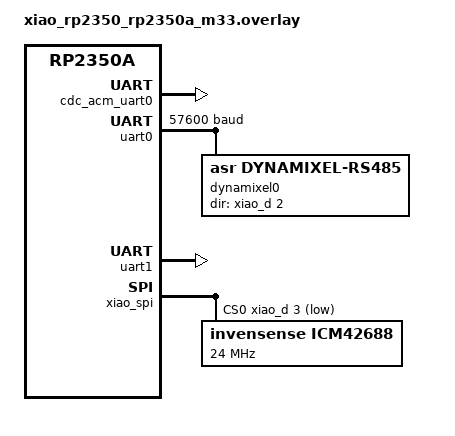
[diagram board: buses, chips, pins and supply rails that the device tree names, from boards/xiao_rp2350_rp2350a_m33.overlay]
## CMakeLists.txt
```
# SPDX-License-Identifier: Apache-2.0
cmake_minimum_required(VERSION 3.20.0)

list(APPEND ZEPHYR_EXTRA_MODULES
	${CMAKE_CURRENT_SOURCE_DIR}/../../modules/common
	${CMAKE_CURRENT_SOURCE_DIR}/../../modules/led
	${CMAKE_CURRENT_SOURCE_DIR}/../../modules/imu
	${CMAKE_CURRENT_SOURCE_DIR}/../../modules/ahrs
	${CMAKE_CURRENT_SOURCE_DIR}/../../modules/comm
	${CMAKE_CURRENT_SOURCE_DIR}/../../modules/interface
	${CMAKE_CURRENT_SOURCE_DIR}/../../modules/monitor
)

find_package(Zephyr REQUIRED HINTS $ENV{ZEPHYR_BASE})
project(unit_system)

target_sources(app PRIVATE src/main.c)
```

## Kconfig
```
mainmenu "unit system application"

source "Kconfig.zephyr"
```

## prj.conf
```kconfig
# SPDX-License-Identifier: Apache-2.0

# Main must not outrank the USB device stack: blocking console TX on CDC ACM
# waits for USB to run; default prio 0 can deadlock poll_out vs. USB worker.
CONFIG_MAIN_THREAD_PRIORITY=0

CONFIG_GPIO=y

# Common shared types and utilities
CONFIG_ASR_COMMON=y

# User LED (PWM brightness on pwm_led0 / GP25)
CONFIG_LED=y
CONFIG_PWM=y
CONFIG_LED_PWM=y
CONFIG_ASR_USR_LED=y

# WS2812 RGB NeoPixel LED (GP22, PIO0)
CONFIG_LED_STRIP=y
CONFIG_ASR_RGB_LED=y

# LED background thread (usr_led steady on, rgb_led blinks blue)
CONFIG_ASR_LED_THREAD=y

# Enable SPI bus
CONFIG_SPI=y

# Enable sensor subsystem
CONFIG_SENSOR=y
CONFIG_ASR_IMU=y
CONFIG_ASR_IMU_THREAD=y
CONFIG_ASR_IMU_STARTUP_DELAY_MS=500
CONFIG_ASR_IMU_PERIOD_MS=1000

# Enable floating-point printf support
CONFIG_CBPRINTF_FP_SUPPORT=y

# Logging configuration
CONFIG_LOG=y
CONFIG_LOG_MODE_IMMEDIATE=y
CONFIG_SENSOR_LOG_LEVEL_DBG=y

# USB CDC ACM (serial over USB) — new device stack
CONFIG_USB_DEVICE_STACK_NEXT=y
CONFIG_USBD_CDC_ACM_CLASS=y
CONFIG_CDC_ACM_SERIAL_INITIALIZE_AT_BOOT=y
CONFIG_SERIAL=y
CONFIG_CONSOLE=y
CONFIG_UART_CONSOLE=y
CONFIG_UART_LINE_CTRL=y
CONFIG_USBD_LOG_LEVEL_ERR=y
CONFIG_UDC_DRIVER_LOG_LEVEL_ERR=y
CONFIG_USBD_CDC_ACM_LOG_LEVEL_OFF=y

# USB interface module (raw CDC ACM data pipe)
CONFIG_ASR_USB_INTERFACE=y

# UART0 communication module (D6=TX/GP0, D7=RX/GP1)
# Temporarily disabled so Dynamixel bring-up can own UART0 exclusively.
CONFIG_ASR_COMM=n
CONFIG_UART_INTERRUPT_DRIVEN=y

# Single-servo Dynamixel RS-485 driver on UART0 with manual DE/RE control
# on D2/GP28. Keep comm disabled so the servo bus owns UART0 exclusively.
CONFIG_ASR_DYNAMIXEL=y

# CPU monitor (per-thread usage logging)
CONFIG_THREAD_MONITOR=y
CONFIG_THREAD_RUNTIME_STATS=y
CONFIG_THREAD_NAME=y
CONFIG_ASR_CPU_MONITOR=y

# Wait for USB connection before startup (optional to avoid missing boot logs)
CONFIG_BOOT_DELAY=1000
```

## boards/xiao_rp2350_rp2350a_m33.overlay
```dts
/*
 * SPDX-License-Identifier: Apache-2.0
 * ICM-42688 sensor devicetree configuration
 * for Seeed XIAO RP2350 development board
 *
 * Hardware wiring:
 *   ICM-42688    XIAO RP2350
 *   ---------    -----------
 *   SPC (SCK)    D8  (GP2)
 *   SDI (MOSI)   D10 (GP3)
 *   SDO (MISO)   D9  (GP4)
 *   CS           D3  (GP5)
 *   VDD          3.3V
 *   GND          GND
 */

#include <zephyr/dt-bindings/sensor/icm42688.h>

/* USB CDC ACM device (console TX + interface module RX) */
&zephyr_udc0 {
	cdc_acm_uart0: cdc_acm_uart0 {
		compatible = "zephyr,cdc-acm-uart";
		/* Default Zephyr CDC ACM UART TX FIFO is 1024 bytes. */
		tx-fifo-size = <2048>;
	};
};

/ {
	chosen {
		zephyr,console = &cdc_acm_uart0;
	};
};

/*
 * Onboard user LED: gpio-leds (led0) and pwm-leds (pwm_led0) both use GP25
 * (PWM slice 4 channel B). If gpio-leds stays enabled, the pin stays GPIO and
 * PWM dimming never works — disable gpio-leds when using pwm_led0.
 */
&{/leds} {
	status = "disabled";
};

&{/pwm_leds} {
	status = "okay";
};

&uart0 {
	current-speed = <57600>;
	status = "okay";

	dynamixel0: dynamixel0 {
		compatible = "asr,dynamixel-rs485";
		status = "okay";
		dir-gpios = <&xiao_d 2 GPIO_ACTIVE_HIGH>; /* D2 = GP28 */
		servo-id = <1>;
		reply-timeout-us = <20000>;
		turnaround-delay-us = <2000>;
	};
};

&uart1 {
	status = "okay";
};

&xiao_spi {
	status = "okay";
	cs-gpios = <&xiao_d 3 GPIO_ACTIVE_LOW>;  /* D3 = GP5 */

	icm42688: icm42688@0 {
		compatible = "invensense,icm42688", "invensense,icm4268x";
		reg = <0>;
		spi-max-frequency = <24000000>;  /* 24 MHz */

		/* Accelerometer configuration */
		accel-pwr-mode = <ICM42688_DT_ACCEL_LN>;      /* Low-noise mode */
		accel-fs = <ICM42688_DT_ACCEL_FS_16>;         /* ±16g */
		accel-odr = <ICM42688_DT_ACCEL_ODR_1000>;     /* 1000 Hz */

		/* Gyroscope configuration */
		gyro-pwr-mode = <ICM42688_DT_GYRO_LN>;        /* Low-noise mode */
		gyro-fs = <ICM42688_DT_GYRO_FS_500>;          /* ±500 dps */
		gyro-odr = <ICM42688_DT_GYRO_ODR_200>;        /* 200 Hz */
	};
};
```

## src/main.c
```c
/*
 * SPDX-License-Identifier: Apache-2.0
 *
 * The application delegates LED, IMU, and UART communication activity to the
 * ASR helper modules.
 */

#include <asr/comm_thread.h>
#include <asr/cpu_monitor_thread.h>
#include <asr/dynamixel.h>
#include <asr/imu.h>
#include <asr/imu_thread.h>
#include <asr/led_thread.h>
#include <asr/robot_base.h>
#include <asr/usb_protocol.h>
#include <asr/usb_thread.h>

#include <errno.h>
#include <string.h>

#include <zephyr/kernel.h>
#include <zephyr/logging/log.h>
#include <zephyr/sys/byteorder.h>

LOG_MODULE_REGISTER(unit_system, LOG_LEVEL_INF);

#define DXL_MODEL_XM430_W350        1020U
#define DXL_MODE_POSITION_CONTROL   3U
#define DXL_STATUS_RETURN_LEVEL_ALL 2U
#define ASR_FRAME_SYNC_HI           0xAAU
#define ASR_FRAME_SYNC_LO           0x55U

unit_status_t unit_status;
K_MUTEX_DEFINE(unit_status_mutex);

static struct {
	bool ready;
	int32_t min_position;
	int32_t max_position;
} dynamixel_state;

static struct {
	uint8_t state;
	uint8_t payload_len;
	uint8_t payload_pos;
	uint8_t checksum;
	uint8_t payload[ASR_COMM_MSG_SIZE];
} usb_frame_parser;

static void handle_dynamixel_torque(uint8_t id, bool enable);
static void handle_dynamixel_goal_position(uint8_t id, int32_t goal_position);

static bool dynamixel_goal_position_valid(int32_t goal_position)
{
	return (goal_position >= dynamixel_state.min_position) &&
	       (goal_position <= dynamixel_state.max_position);
}

static void usb_control_reset_parser(void)
{
	memset(&usb_frame_parser, 0, sizeof(usb_frame_parser));
}

static int usb_control_send_payload(const uint8_t payload[ASR_COMM_MSG_SIZE])
{
	uint8_t frame[3U + ASR_COMM_MSG_SIZE + 1U];
	uint8_t checksum = ASR_COMM_MSG_SIZE;

	frame[0] = ASR_FRAME_SYNC_HI;
	frame[1] = ASR_FRAME_SYNC_LO;
	frame[2] = ASR_COMM_MSG_SIZE;
	memcpy(&frame[3], payload, ASR_COMM_MSG_SIZE);

	for (size_t i = 0; i < ASR_COMM_MSG_SIZE; ++i) {
		checksum ^= payload[i];
	}

	frame[3U + ASR_COMM_MSG_SIZE] = checksum;
	return asr_usb_protocol_send(frame, sizeof(frame));
}

static void handle_dynamixel_position_read(uint8_t id)
{
	uint8_t reply[ASR_COMM_MSG_SIZE] = {0};
	int32_t present_position;
	int ret;

	if (id != ASR_DXL_1) {
		LOG_DBG("忽略未映射的舵机读位置命令: joint=%u", id + 1U);
		return;
	}

	if (!dynamixel_state.ready) {
		LOG_WRN("舵机未就绪, 忽略读位置命令");
		return;
	}

	ret = asr_dynamixel_get_present_position(&present_position);
	if (ret < 0) {
		LOG_ERR("读取舵机当前位置失败: %d", ret);
		return;
	}

	reply[2] = ASR_COMM_CMD_READ;
	reply[3] = ASR_COMM_PARAM_JOINT1;
	sys_put_le32((uint32_t)present_position, &reply[4]);

	ret = usb_control_send_payload(reply);
	if (ret < 0) {
		LOG_ERR("发送舵机位置回复失败: %d", ret);
		return;
	}

	LOG_INF("舵机当前位置=%ld", (long)present_position);
}

static void usb_control_handle_payload(const uint8_t payload[ASR_COMM_MSG_SIZE])
{
	switch (payload[2]) {
	case ASR_COMM_CMD_WRITE:
		switch (payload[3]) {
		case ASR_COMM_PARAM_JOINT1_TORQUE:
			handle_dynamixel_torque(ASR_DXL_1, payload[4] != 0U);
			break;
		case ASR_COMM_PARAM_JOINT1:
			handle_dynamixel_goal_position(ASR_DXL_1,
						      (int32_t)sys_get_le32(&payload[4]));
			break;
		default:
			LOG_WRN("忽略 USB 未映射参数: param=0x%02x", payload[3]);
			break;
		}
		break;
	case ASR_COMM_CMD_READ:
		switch (payload[3]) {
		case ASR_COMM_PARAM_JOINT1:
			handle_dynamixel_position_read(ASR_DXL_1);
			break;
		default:
			LOG_WRN("忽略 USB 未映射读参数: param=0x%02x", payload[3]);
			break;
		}
		break;
	default:
		LOG_WRN("忽略 USB 未支持命令: cmd=0x%02x", payload[2]);
		break;
	}
}

static void usb_control_rx_cb(const uint8_t *data, size_t len)
{
	for (size_t i = 0; i < len; ++i) {
		uint8_t byte = data[i];

		switch (usb_frame_parser.state) {
		case 0:
			if (byte == ASR_FRAME_SYNC_HI) {
				usb_frame_parser.state = 1U;
			}
			break;
		case 1:
			if (byte == ASR_FRAME_SYNC_LO) {
				usb_frame_parser.state = 2U;
			} else if (byte != ASR_FRAME_SYNC_HI) {
				usb_control_reset_parser();
			}
			break;
		case 2:
			if (byte != ASR_COMM_MSG_SIZE) {
				LOG_WRN("忽略 USB 非法帧长度: %u", (unsigned int)byte);
				usb_control_reset_parser();
				break;
			}

			usb_frame_parser.payload_len = byte;
			usb_frame_parser.checksum = byte;
			usb_frame_parser.payload_pos = 0U;
			usb_frame_parser.state = 3U;
			break;
		case 3:
			usb_frame_parser.payload[usb_frame_parser.payload_pos++] = byte;
			usb_frame_parser.checksum ^= byte;
			if (usb_frame_parser.payload_pos == usb_frame_parser.payload_len) {
				usb_frame_parser.state = 4U;
			}
			break;
		case 4:
			if (byte != usb_frame_parser.checksum) {
				LOG_WRN("忽略 USB 校验错误帧: expected=0x%02x got=0x%02x",
					usb_frame_parser.checksum, byte);
				usb_control_reset_parser();
				break;
			}

			usb_control_handle_payload(usb_frame_parser.payload);
			usb_control_reset_parser();
			break;
		default:
			usb_control_reset_parser();
			break;
		}
	}
}

static int dynamixel_prepare(void)
{
	uint16_t model_number = 0U;
	uint8_t firmware_version = 0U;
	uint8_t mode = 0U;
	uint8_t status_return_level = 0U;
	int32_t present_position = 0;
	int ret;

	memset(&dynamixel_state, 0, sizeof(dynamixel_state));
	usb_control_reset_parser();

	ret = asr_dynamixel_init();
	if (ret < 0) {
		LOG_WRN("Dynamixel 驱动初始化失败: %d", ret);
		return ret;
	}

	LOG_INF("开始 Dynamixel bring-up: UART0, baud=57600, dir=GP28(D2), id=1");

	ret = asr_dynamixel_ping(&model_number, &firmware_version);
	if (ret < 0) {
		LOG_WRN("Dynamixel PING 失败: %d", ret);
		if (ret == -ETIMEDOUT) {
			LOG_WRN("未收到舵机状态包; 优先检查 TX->RXD、RX<-TXD、A/B、共地和 DIR 极性");
		}
		return ret;
	}

	LOG_INF("Dynamixel online: model=%u fw=%u",
		(unsigned int)model_number,
		(unsigned int)firmware_version);

	if (model_number != DXL_MODEL_XM430_W350) {
		LOG_WRN("检测到的型号不是 XM430-W350-R: %u", (unsigned int)model_number);
	}

	ret = asr_dynamixel_get_status_return_level(&status_return_level);
	if (ret < 0) {
		LOG_WRN("读取 Status Return Level 失败: %d", ret);
		return ret;
	}

	LOG_INF("Status Return Level=%u", (unsigned int)status_return_level);
	if (status_return_level != DXL_STATUS_RETURN_LEVEL_ALL) {
		ret = asr_dynamixel_set_status_return_level(DXL_STATUS_RETURN_LEVEL_ALL);
		if (ret < 0) {
			LOG_WRN("设置 Status Return Level 失败: %d", ret);
			return ret;
		}
		LOG_INF("Status Return Level 已设置为 %u",
			(unsigned int)DXL_STATUS_RETURN_LEVEL_ALL);
	}

	ret = asr_dynamixel_get_operating_mode(&mode);
	if (ret < 0) {
		LOG_WRN("读取 Operating Mode 失败: %d", ret);
		return ret;
	}

	LOG_INF("Operating Mode=%u", (unsigned int)mode);
	if (mode != DXL_MODE_POSITION_CONTROL) {
		ret = asr_dynamixel_set_torque(false);
		if (ret < 0) {
			LOG_WRN("关闭舵机扭矩失败: %d", ret);
			return ret;
		}

		ret = asr_dynamixel_set_operating_mode(DXL_MODE_POSITION_CONTROL);
		if (ret < 0) {
			LOG_WRN("设置 Operating Mode 失败: %d", ret);
			return ret;
		}

		LOG_INF("Operating Mode 已切换为 Position Control(%u)",
			(unsigned int)DXL_MODE_POSITION_CONTROL);
	}

	ret = asr_dynamixel_get_position_limits(&dynamixel_state.min_position,
						&dynamixel_state.max_position);
	if (ret < 0) {
		LOG_WRN("读取位置限位失败: %d", ret);
		return ret;
	}

	ret = asr_dynamixel_get_present_position(&present_position);
	if (ret < 0) {
		LOG_WRN("读取当前位置失败: %d", ret);
		return ret;
	}

	dynamixel_state.ready = true;
	LOG_INF("Dynamixel ready: pos=%ld, limit=[%ld, %ld]",
		(long)present_position,
		(long)dynamixel_state.min_position,
		(long)dynamixel_state.max_position);

	return 0;
}

static void handle_dynamixel_torque(uint8_t id, bool enable)
{
	int ret;

	if (id != ASR_DXL_1) {
		LOG_DBG("忽略未映射的舵机扭矩命令: joint=%u", id + 1U);
		return;
	}

	if (!dynamixel_state.ready) {
		LOG_WRN("舵机未就绪, 忽略扭矩命令");
		return;
	}

	ret = asr_dynamixel_set_torque(enable);
	if (ret < 0) {
		LOG_ERR("舵机扭矩设置失败: %d", ret);
		return;
	}

	LOG_INF("舵机扭矩已%s", enable ? "使能" : "关闭");
}

static void handle_dynamixel_goal_position(uint8_t id, int32_t goal_position)
{
	int ret;
	int32_t present_position;

	if (id != ASR_DXL_1) {
		LOG_DBG("忽略未映射的舵机位置命令: joint=%u", id + 1U);
		return;
	}

	if (!dynamixel_state.ready) {
		LOG_WRN("舵机未就绪, 忽略位置命令");
		return;
	}

	if (!dynamixel_goal_position_valid(goal_position)) {
		LOG_WRN("舵机目标位置越界: goal=%ld, limit=[%ld, %ld]",
			(long)goal_position,
			(long)dynamixel_state.min_position,
			(long)dynamixel_state.max_position);
		return;
	}

	ret = asr_dynamixel_set_goal_position(goal_position);
	if (ret < 0) {
		LOG_ERR("舵机目标位置设置失败: %d", ret);
		return;
	}

	ret = asr_dynamixel_get_present_position(&present_position);
	if (ret < 0) {
		LOG_WRN("舵机位置回读失败: %d", ret);
		return;
	}

	LOG_INF("舵机目标位置=%ld, 当前回读位置=%ld",
		(long)goal_position, (long)present_position);
}

int main(void)
{
	int ret;

	LOG_INF("==========================================");
	LOG_INF("Unit system application");
	LOG_INF("==========================================");

	ret = asr_led_thread_init();
	if (ret < 0) {
		LOG_WRN("LED thread init failed: %d (continuing without LED)", ret);
	}

	asr_usb_protocol_register_rx_cb(usb_control_rx_cb);

	ret = asr_usb_protocol_thread_init();
	if (ret < 0) {
		LOG_WRN("USB protocol thread init failed: %d (continuing without USB)", ret);
	}

	ret = asr_cpu_monitor_thread_init();
	if (ret < 0) {
		LOG_WRN("CPU monitor thread init failed: %d (continuing without CPU monitor)", ret);
	}

	ret = dynamixel_prepare();
	if (ret < 0) {
		LOG_WRN("Dynamixel bring-up 失败: %d (继续启动其余模块)", ret);
	}

	ret = asr_imu_thread_init();
	if (ret < 0) {
		LOG_WRN("IMU thread init failed: %d (continuing without IMU)", ret);
	}

	LOG_INF("all modules initialised, starting threads");
	k_sleep(K_MSEC(10));

	asr_led_thread_start();
	asr_usb_protocol_thread_start();
	asr_cpu_monitor_thread_start();
	asr_imu_thread_start();

	LOG_INF("all background threads started");
	return 0;
}
```
